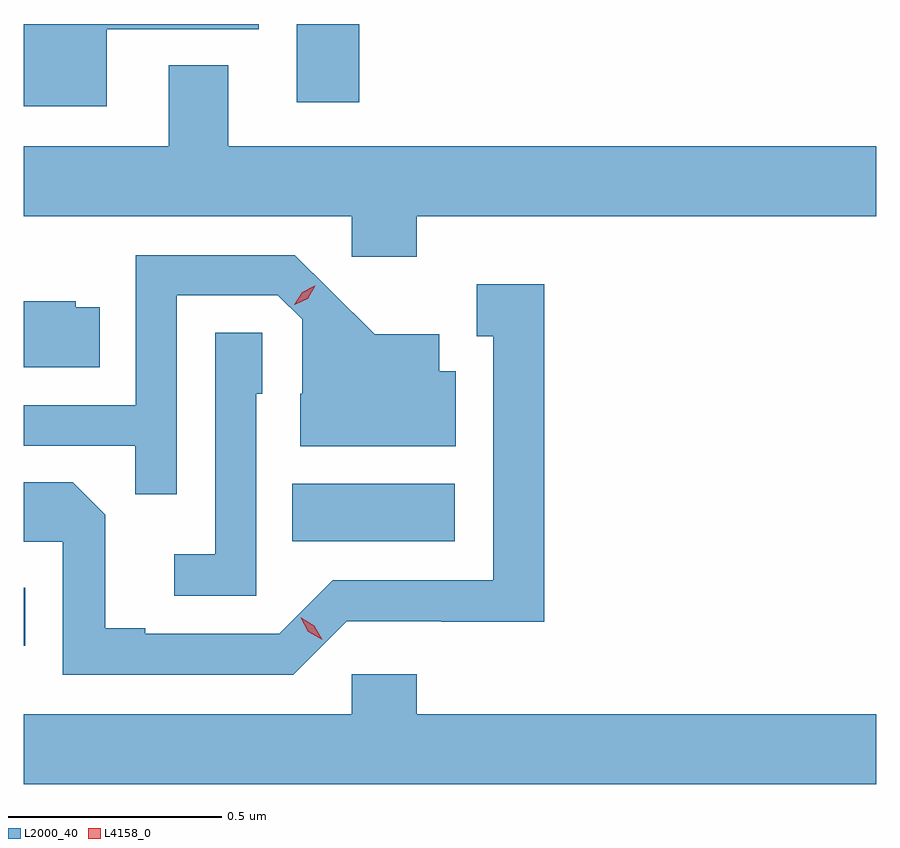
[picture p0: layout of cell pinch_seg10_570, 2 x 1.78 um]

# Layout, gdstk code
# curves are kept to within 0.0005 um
import gdstk
lib = gdstk.Library(unit=1e-6, precision=1e-09)
def R(c, l, rs):  # rectangles x0, y0, x1, y1
    for r in rs: c.add(gdstk.rectangle(r[:2], r[2:], *l))
def P(c, l, *ps):  # polygons
    for p in ps: c.add(gdstk.Polygon(p, *l))
L2000_40 = (2000, 40)
L4158_0 = (4158, 0)

pinch_seg10_570 = lib.new_cell('pinch_seg10_570')
R(pinch_seg10_570, L2000_40, [(372.28,1277.996,372.283,1278.132), (372.91,1278.242,373.291,1278.376), (372.92,1279.272,373.067,1279.455)])
P(pinch_seg10_570, L2000_40, [(372.475,1279.443),(372.831,1279.443),(372.831,1279.455),(372.28,1279.455),(372.28,1279.262),(372.475,1279.262)],
  [(373.202,1279.004),(374.28,1279.004),(374.28,1279.168),(372.76,1279.168),(372.76,1279.358),(372.62,1279.358),(372.62,1279.168),(372.28,1279.168),(372.28,1279.004),(373.05,1279.004),(373.05,1278.909),(373.202,1278.909)],
  [(372.639,1278.819),(372.876,1278.819),(372.933,1278.762),(372.933,1278.588),(372.929,1278.588),(372.929,1278.464),(373.294,1278.464),(373.294,1278.64),(373.255,1278.64),(373.255,1278.727),(373.103,1278.727),(372.916,1278.912),(372.543,1278.912),(372.543,1278.561),(372.28,1278.561),(372.28,1278.465),(372.541,1278.465),(372.541,1278.352),(372.639,1278.352)],
  [(373.038,1278.054),(373.26,1278.054),(373.26,1278.053),(373.501,1278.053),(373.501,1278.844),(373.343,1278.844),(373.343,1278.723),(373.382,1278.723),(373.382,1278.15),(373.005,1278.15),(372.879,1278.024),(372.565,1278.024),(372.565,1278.037),(372.471,1278.037),(372.471,1278.304),(372.395,1278.38),(372.28,1278.38),(372.28,1278.24),(372.372,1278.24),(372.372,1277.928),(372.912,1277.928)],
  [(372.458,1278.79),(372.402,1278.79),(372.402,1278.805),(372.28,1278.805),(372.28,1278.65),(372.458,1278.65)],
  [(372.825,1278.588),(372.84,1278.588),(372.84,1278.731),(372.729,1278.731),(372.729,1278.211),(372.633,1278.211),(372.633,1278.114),(372.825,1278.114)],
  [(374.28,1277.836),(373.202,1277.836),(373.202,1277.929),(373.05,1277.929),(373.05,1277.836),(372.28,1277.836),(372.28,1277.672),(374.28,1277.672)])
P(pinch_seg10_570, L4158_0, [(372.98,1278.01),(372.948,1278.029),(372.93,1278.062),(372.93,1278.062),(372.931,1278.062),(372.962,1278.043),(372.98,1278.01),(372.98,1278.01)],
  [(372.915,1278.796),(372.915,1278.796),(372.933,1278.826),(372.963,1278.841),(372.964,1278.841),(372.964,1278.841),(372.946,1278.811),(372.916,1278.796)])

lib.write_gds('pinch_seg10_570.gds')
